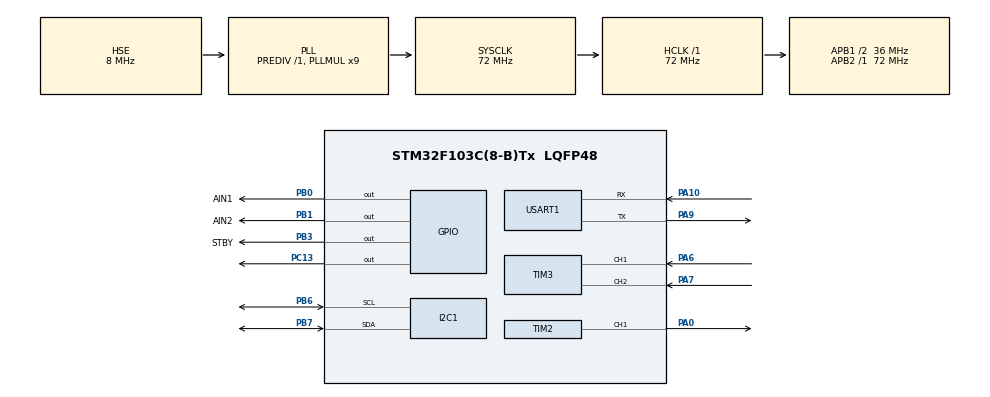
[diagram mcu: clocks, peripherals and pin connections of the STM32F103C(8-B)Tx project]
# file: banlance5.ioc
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Dma.Request0=USART1_TX
Dma.USART1_TX.0.Direction=DMA_MEMORY_TO_PERIPH
Dma.USART1_TX.0.Instance=DMA1_Channel4
Dma.USART1_TX.0.MemDataAlignment=DMA_MDATAALIGN_BYTE
Dma.USART1_TX.0.MemInc=DMA_MINC_ENABLE
Dma.USART1_TX.0.Mode=DMA_NORMAL
Dma.USART1_TX.0.PeriphDataAlignment=DMA_PDATAALIGN_BYTE
Dma.USART1_TX.0.PeriphInc=DMA_PINC_DISABLE
Dma.USART1_TX.0.Priority=DMA_PRIORITY_LOW
Mcu.Family=STM32F1
Mcu.Name=STM32F103C(8-B)Tx
Mcu.Package=LQFP48
NVIC.DMA1_Channel4_IRQn=true\:0\:0\:false\:false\:true\:false\:true\:true
NVIC.PriorityGroup=NVIC_PRIORITYGROUP_4
NVIC.TIM4_IRQn=true\:0\:0\:false\:false\:true\:true\:true\:true
NVIC.USART1_IRQn=true\:0\:0\:false\:false\:true\:false\:true\:true
PA0-WKUP.Signal=S_TIM2_CH1_ETR
PA10.Mode=Asynchronous
PA10.Signal=USART1_RX
PA13.Mode=Serial_Wire
PA13.Signal=SYS_JTMS-SWDIO
PA14.Mode=Serial_Wire
PA14.Signal=SYS_JTCK-SWCLK
PA6.Signal=S_TIM3_CH1
PA7.Signal=S_TIM3_CH2
PA9.Mode=Asynchronous
PA9.Signal=USART1_TX
PB0.GPIO_Label=AIN1
PB0.GPIO_Speed=GPIO_SPEED_FREQ_HIGH
PB0.Signal=GPIO_Output
PB1.GPIO_Label=AIN2
PB1.Signal=GPIO_Output
PB3.GPIO_Label=STBY
PB3.Signal=GPIO_Output
PB6.Mode=I2C
PB6.Signal=I2C1_SCL
PB7.Mode=I2C
PB7.Signal=I2C1_SDA
PC13-TAMPER-RTC.Signal=GPIO_Output
PD0-OSC_IN.Mode=HSE-External-Oscillator
PD0-OSC_IN.Signal=RCC_OSC_IN
PD1-OSC_OUT.Mode=HSE-External-Oscillator
PD1-OSC_OUT.Signal=RCC_OSC_OUT
ProjectManager.HeapSize=0x200
ProjectManager.StackSize=0x400
ProjectManager.TargetToolchain=CMake
RCC.AHBFreq_Value=72000000
RCC.APB1CLKDivider=RCC_HCLK_DIV2
RCC.APB1Freq_Value=36000000
RCC.APB1TimFreq_Value=72000000
RCC.APB2Freq_Value=72000000
RCC.APB2TimFreq_Value=72000000
RCC.HCLKFreq_Value=72000000
RCC.PLLMUL=RCC_PLL_MUL9
RCC.PLLSourceVirtual=RCC_PLLSOURCE_HSE
RCC.SYSCLKFreq_VALUE=72000000
RCC.SYSCLKSource=RCC_SYSCLKSOURCE_PLLCLK
RCC.USBFreq_Value=72000000
SH.S_TIM2_CH1_ETR.0=TIM2_CH1,PWM Generation1 CH1
SH.S_TIM3_CH1.0=TIM3_CH1,Encoder_Interface
SH.S_TIM3_CH2.0=TIM3_CH2,Encoder_Interface
TIM2.Channel-PWM\ Generation1\ CH1=TIM_CHANNEL_1
TIM2.Period=999
TIM2.Prescaler=71
TIM2.Pulse-PWM\ Generation1\ CH1=0
TIM3.EncoderMode=TIM_ENCODERMODE_TI12
TIM4.Period=99
TIM4.Prescaler=7199
USART1.VirtualMode=VM_ASYNC
VP_TIM2_VS_ClockSourceINT.Mode=Internal
VP_TIM4_VS_ClockSourceINT.Mode=Internal
board=custom

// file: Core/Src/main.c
/* USER CODE BEGIN Header */
/**
  ******************************************************************************
  * @file           : main.c
  * @brief          : Main program body
  ******************************************************************************
  * @attention
  *
  * Copyright (c) 2026 STMicroelectronics.
  * All rights reserved.
  *
  * This software is licensed under terms that can be found in the LICENSE file
  * in the root directory of this software component.
  * If no LICENSE file comes with this software, it is provided AS-IS.
  *
  ******************************************************************************
  */
/* USER CODE END Header */
#include "main.h"
#include "dma.h"
#include "i2c.h"
#include "tim.h"
#include "usart.h"
#include "gpio.h"

/* USER CODE BEGIN Includes */
#include "stdio.h"
#include "string.h"
#include "stdlib.h"
#include "math.h"
#include "ins.h"
#include "cmsis_gcc.h"
#include "mpu6050.h"
/* USER CODE END Includes */

/* USER CODE BEGIN PV */
/*
 * VOFA 命令接收缓冲区。
 * 串口中断每次只接收 1 个字节，rx_idx 指向下一个待写入的位置；收到 '\n'
 * 后把整行当成一条命令解析，例如 "I10:60\n"。
 */
uint8_t rx_buf[16] = {0};
uint8_t rx_idx = 0;

/* 旧版 4 字节接收方案保留的变量，目前控制流程没有使用。 */
uint8_t uart_rx_buf[4];

/* USER CODE END PV */

void SystemClock_Config(void);

/* USER CODE BEGIN 0 */
#define MAX_SPEED 999

/** 控制器当前工作模式。两种模式最终都通过同一个速度 PID 驱动电机。 */
typedef enum
{
  CONTROL_MODE_SPEED = 0, /**< 速度模式：VOFA 的 I10 直接指定目标 RPM。 */
  CONTROL_MODE_ANGLE = 1  /**< 角度模式：VOFA 的 I9 指定目标角度。 */
} control_mode_t;

/* -------------------- 控制模式与角度外环状态 -------------------- */
volatile control_mode_t control_mode = CONTROL_MODE_SPEED;
volatile float target_angle = 0.0f;       /**< 用户设定的目标角度，单位：度。 */
volatile float control_angle = 0.0f;      /**< MPU6050 当前俯仰角 pitch，单位：度。 */
volatile float control_angle_rate = 0.0f; /**< Y 轴角速度，单位：度/秒。 */
volatile float angle_target_rpm = 0.0f;   /**< 角度外环计算出的目标转速。 */
volatile float speed_setpoint = 0.0f;     /**< 送入速度内环的最终目标转速。 */
volatile uint8_t control_reset_requested = 1; /**< 切换模式/目标后请求清空 PID 历史状态。 */

#define ANGLE_KP 4.0f             /**< 角度环比例系数：决定对角度误差的响应强度。 */
#define ANGLE_KI 0.4f             /**< 角度环积分系数：消除长期静差。 */
#define ANGLE_KD 0.3f             /**< 角度环微分系数：利用角速度抑制超调。 */
#define ANGLE_LOOP_DT 0.020f       /**< 角度环周期 20 ms，即 50 Hz。 */
#define ANGLE_INTEGRAL_LIMIT 40.0f /**< 角度积分限幅，防止积分饱和。 */
#define ANGLE_SPEED_LIMIT 150.0f   /**< 角度环允许给出的最大目标转速，单位 RPM。 */
#define ANGLE_TARGET_LIMIT 45.0f   /**< VOFA 可设置的目标角度范围为 +/-45 度。 */
#define ANGLE_SAFETY_LIMIT 75.0f   /**< 实际角度超过该值时立即停止电机。 */
#define ANGLE_CONTROL_DIRECTION 1.0f // 若角度误差越来越大，改为-1.0f

float angle_err = 0.0f;
float angle_err_sum = 0.0f;

/* -------------------- 编码器测速参数与状态 -------------------- */
volatile int16_t pulse_delta; /**< 最近 10 ms 内 TIM3 的有符号增量计数。 */
volatile float speed_rpm_raw = 0.0f;
volatile float speed_rpm = 0.0f;
#define MOTOR_PPR 11.0f      // 电机轴单通道每圈脉冲数；当前值必须按实际编码器修改
#define REDUCE_RATIO 30.0f   // 减速箱减速比；本项目所用 1:48/1:90 电机不可继续使用 30
#define ENCODER_MULTIPLIER 4.0f // TIM3使用TI12模式，对AB相进行4倍频计数
#define ENCODER_DIRECTION 1.0f  // 若正转时测速为负，改为-1.0f
#define SPEED_LOOP_DT 0.010f    // TIM4控制周期：10 ms
#define SPEED_FILTER_ALPHA 0.30f

/* -------------------- 速度 PID 参数与状态 -------------------- */
volatile float target_rpm = 0.0f;
#define SPEED_TARGET_LIMIT 200.0f
float sp_kp = 1.8f;
float sp_ki = 0.25f;
float sp_kd = 0.03f;
float sp_err = 0;
float sp_err_last = 0;
float sp_err_sum = 0;
volatile float speed_pid_out = 0;
#define PWM_LIMIT 999.0f
#define INTEGRAL_LIMIT 2000.0f

/**
 * @brief 计算角度外环 PID，并把角度误差换算为速度内环的目标转速。
 *
 * 该函数不直接驱动电机。它只完成“角度 -> 目标转速”的转换，返回值随后交给
 * 速度 PID。这样形成串级控制：角度外环决定电机应该转多快，速度内环再决定
 * TB6612 应输出多大的 PWM。
 *
 * @param angle 当前姿态角，单位为度；本工程传入 MPU6050 解算得到的 pitch。
 * @param angle_rate 当前角速度，单位为度/秒；直接用作微分反馈，避免对误差再次差分。
 * @return 速度内环目标值，单位为 RPM，并限制在 +/-ANGLE_SPEED_LIMIT 范围内。
 *
 * @note 由 50 Hz 角度环调用，因此积分项使用 ANGLE_LOOP_DT=0.020 s。
 */
float angle_pid_update(float angle, float angle_rate)
{
  angle_err = target_angle - angle;
  angle_err_sum += angle_err * ANGLE_LOOP_DT;

  if(angle_err_sum > ANGLE_INTEGRAL_LIMIT) angle_err_sum = ANGLE_INTEGRAL_LIMIT;
  if(angle_err_sum < -ANGLE_INTEGRAL_LIMIT) angle_err_sum = -ANGLE_INTEGRAL_LIMIT;

  float output = ANGLE_CONTROL_DIRECTION *
                 (ANGLE_KP * angle_err + ANGLE_KI * angle_err_sum - ANGLE_KD * angle_rate);

  if(output > ANGLE_SPEED_LIMIT) output = ANGLE_SPEED_LIMIT;
  if(output < -ANGLE_SPEED_LIMIT) output = -ANGLE_SPEED_LIMIT;
  return output;
}

/**
 * @brief 根据有符号控制量设置 TB6612 的方向引脚和 PWM 占空比。
 *
 * speed 的正负决定方向，绝对值决定 TIM2_CH1 的比较值：
 * - speed > 0：AIN1=1、AIN2=0，电机正转；
 * - speed < 0：AIN1=0、AIN2=1，电机反转；
 * - speed = 0：AIN1=0、AIN2=0、PWM=0，电机停止。
 *
 * @param speed 有符号 PWM 控制量，允许范围为 -999～999。
 *              超出范围时会先限幅，避免写入非法的定时器比较值。
 * @note 本函数只控制 A 通道；TB6612 的 STBY 已在 main() 启动阶段拉高。
 */
void motor_set(int16_t speed)
{
  //限幅，防止PWM溢出
  if(speed > MAX_SPEED)
  {
    speed = MAX_SPEED;
  }
  if(speed < -MAX_SPEED)
  {
    speed = -MAX_SPEED;
  }
  if(speed > 0)
  {
    //电机正向
    HAL_GPIO_WritePin(AIN1_GPIO_Port, AIN1_Pin, GPIO_PIN_SET);
    HAL_GPIO_WritePin(AIN2_GPIO_Port, AIN2_Pin, GPIO_PIN_RESET);
    __HAL_TIM_SET_COMPARE(&htim2, TIM_CHANNEL_1, speed);
  }
  else if(speed < 0)
  {
    //电机反向
    HAL_GPIO_WritePin(AIN1_GPIO_Port, AIN1_Pin, GPIO_PIN_RESET);
    HAL_GPIO_WritePin(AIN2_GPIO_Port, AIN2_Pin, GPIO_PIN_SET);
    __HAL_TIM_SET_COMPARE(&htim2, TIM_CHANNEL_1, -speed);
  }
  else
  {
    //停止
    HAL_GPIO_WritePin(AIN1_GPIO_Port, AIN1_Pin, GPIO_PIN_RESET);
    HAL_GPIO_WritePin(AIN2_GPIO_Port, AIN2_Pin, GPIO_PIN_RESET);
    __HAL_TIM_SET_COMPARE(&htim2, TIM_CHANNEL_1, 0);
  }
}

/* USER CODE END 0 */

/**
  * @brief 程序入口：初始化硬件、启动控制中断，并在主循环完成姿态更新和VOFA上传。
  *
  * 执行顺序：
  * 1. HAL_Init() 初始化 HAL、SysTick 和中断优先级基础环境；
  * 2. SystemClock_Config() 把系统主频配置为 72 MHz；
  * 3. 初始化 GPIO、DMA、定时器、串口、I2C；
  * 4. 启动 PWM、编码器计数、10 ms 定时中断和串口单字节接收；
  * 5. 初始化 MPU6050 并校准陀螺仪；
  * 6. 进入无限循环，持续更新姿态并以 50 Hz 向 VOFA 发送监控数据。
  *
  * 电机 PID 不在 while(1) 中运行，而是在 TIM4 的周期中断回调中运行，
  * 因此主循环偶尔变慢不会直接改变 PID 的固定采样周期。
  *
  * @retval int 嵌入式程序不会正常退出，理论上不会执行到返回位置。
  */
int main(void)
{

  /* MCU Configuration--------------------------------------------------------*/

  /* Reset of all peripherals, Initializes the Flash interface and the Systick. */
  HAL_Init();

  /* USER CODE BEGIN Init */
  //启动编码器
  //HAL_TIM_Encoder_Start(&htim3, TIM_CHANNEL_1);
  //HAL_TIM_Encoder_Start(&htim3, TIM_CHANNEL_2);
  //启动1ms定时中断跑PID
  //HAL_TIM_Base_Start_IT(&htim4);
  //开启串口中断接收VOFA浮点数
  //HAL_UART_Receive_IT(&huart1, uart_rx_buf,4);

  /* USER CODE END Init */

  /* Configure the system clock */
  SystemClock_Config();

  /* Initialize all configured peripherals */
  MX_GPIO_Init();
  MX_DMA_Init();
  MX_TIM2_Init();
  MX_TIM4_Init();
  MX_USART1_UART_Init();
  MX_I2C1_Init();
  MX_TIM3_Init();
  /* USER CODE BEGIN 2 */
  /* 上电先把PWM设为0，再使能TB6612，防止初始化过程中电机意外动作。 */
  __HAL_TIM_SET_COMPARE(&htim2, TIM_CHANNEL_1, 0);
  HAL_GPIO_WritePin(STBY_GPIO_Port, STBY_Pin, GPIO_PIN_SET);
  HAL_TIM_PWM_Start(&htim2, TIM_CHANNEL_1);          // TIM2_CH1：输出电机PWM
  HAL_TIM_Encoder_Start(&htim3, TIM_CHANNEL_ALL);   // TIM3_CH1/CH2：AB相正交解码
  HAL_TIM_Base_Start_IT(&htim4);                    // TIM4：每10ms触发一次速度环
  HAL_UART_Receive_IT(&huart1, &rx_buf[rx_idx], 1); // USART1：逐字节接收VOFA命令

  ins_init(); // 初始化MPU6050并进行静止零偏校准，此阶段不要移动传感器
  /* USER CODE END 2 */

  /* Infinite loop */
  /* USER CODE BEGIN WHILE */
  // 发送缓冲区
  char buff[256];
  uint32_t vofa_last_tick = 0;
  // 获取陀螺仪数据的指针
  ins_data_t *ins = ins_data();
  while (1)
  {// 更新 MPU6050 数据（陀螺仪 + 加速度计 + 姿态解算）
    ins_update();

    // I2C读取留在主循环；控制中断只使用最近一次姿态结果
    control_angle = ins->pitch;
    control_angle_rate = ins->gyro[1];

    /*
     * 速度模式：I10直接给定speed_setpoint。
     * 角度模式：I9经角度PID生成speed_setpoint。
     * 两种模式最终都只允许速度PID写PWM。
     */

    /*
     * VOFA使用FireWater：50 Hz发送，避免阻塞串口过度占用CPU。
     * 逗号分隔字段会按顺序显示为：
     * I0~I2   = X/Y/Z角速度；        I3~I5   = X/Y/Z角加速度；
     * I6~I8   = roll/pitch/yaw；      I9      = 目标角度；
     * I10     = 速度模式目标RPM；     I11     = 编码器实际RPM；
     * I12     = 速度PID输出PWM；      I13     = 最近10ms编码器增量；
     * I14     = 控制模式(0速度/1角度)；I15     = 速度内环最终目标；
     * I16     = 角度外环给出的目标RPM。
     */
    if ((HAL_GetTick() - vofa_last_tick) >= 20U)
    {
      vofa_last_tick = HAL_GetTick();
      sprintf(buff, "%.3f,%.3f,%.3f,%.2f,%.2f,%.2f,%.3f,%.3f,%.3f,%.3f,%.3f,%.3f,%.3f,%d,%.0f,%.3f,%.3f\n",
              ins->gyro[0], ins->gyro[1], ins->gyro[2],
              ins->gyro_accel[0], ins->gyro_accel[1], ins->gyro_accel[2],
              ins->roll, ins->pitch, ins->yaw, target_angle,
              target_rpm, speed_rpm, speed_pid_out, (int)pulse_delta,
              (float)control_mode, speed_setpoint, angle_target_rpm);
      HAL_UART_Transmit(&huart1, (uint8_t *)buff, strlen(buff), 100);
    }

    HAL_Delay(1);
    /* USER CODE END WHILE */

  }
}

/**
  * @brief 配置 STM32F103 系统时钟为 72 MHz。
  *
  * 时钟路径为：外部高速晶振 HSE 8 MHz -> PLL 倍频 9 -> SYSCLK 72 MHz。
  * AHB 保持 72 MHz，APB1 分频为 36 MHz，APB2 保持 72 MHz。由于 APB1
  * 分频不为 1，挂在 APB1 上的 TIM2/TIM3/TIM4 定时器时钟会自动倍频到
  * 72 MHz。USART1 位于 APB2，I2C1 位于 APB1。
  *
  * @retval None
  */
void SystemClock_Config(void)
{
  RCC_OscInitTypeDef RCC_OscInitStruct = {0};
  RCC_ClkInitTypeDef RCC_ClkInitStruct = {0};

  /** Initializes the RCC Oscillators according to the specified parameters
  * in the RCC_OscInitTypeDef structure.
  */
  RCC_OscInitStruct.OscillatorType = RCC_OSCILLATORTYPE_HSE;
  RCC_OscInitStruct.HSEState = RCC_HSE_ON;
  RCC_OscInitStruct.HSEPredivValue = RCC_HSE_PREDIV_DIV1;
  RCC_OscInitStruct.HSIState = RCC_HSI_ON;
  RCC_OscInitStruct.PLL.PLLState = RCC_PLL_ON;
  RCC_OscInitStruct.PLL.PLLSource = RCC_PLLSOURCE_HSE;
  RCC_OscInitStruct.PLL.PLLMUL = RCC_PLL_MUL9;
  if (HAL_RCC_OscConfig(&RCC_OscInitStruct) != HAL_OK)
  {
    Error_Handler();
  }

  /** Initializes the CPU, AHB and APB buses clocks
  */
  RCC_ClkInitStruct.ClockType = RCC_CLOCKTYPE_HCLK|RCC_CLOCKTYPE_SYSCLK
                              |RCC_CLOCKTYPE_PCLK1|RCC_CLOCKTYPE_PCLK2;
  RCC_ClkInitStruct.SYSCLKSource = RCC_SYSCLKSOURCE_PLLCLK;
  RCC_ClkInitStruct.AHBCLKDivider = RCC_SYSCLK_DIV1;
  RCC_ClkInitStruct.APB1CLKDivider = RCC_HCLK_DIV2;
  RCC_ClkInitStruct.APB2CLKDivider = RCC_HCLK_DIV1;

  if (HAL_RCC_ClockConfig(&RCC_ClkInitStruct, FLASH_LATENCY_2) != HAL_OK)
  {
    Error_Handler();
  }
}

/* USER CODE BEGIN 4 */
/**
 * @brief 把标准库 printf 的单字符输出重定向到 USART1。
 * @param ch 待发送的字符。
 * @param f 标准库传入的文件流指针，本实现不使用该参数。
 * @return 成功发送后原样返回 ch，符合 fputc 的接口约定。
 * @note 该实现为阻塞发送，适合调试信息，不适合在高频中断中调用。
 */
int fputc(int ch,FILE *f)
{
  HAL_UART_Transmit(&huart1,(uint8_t *)&ch,1,10);
  return ch;
}

/**
 * @brief 解析冒号后面的浮点数，例如把 "I10:-35.5" 解析为 -35.5。
 * @param str 以 '\0' 结尾的命令字符串。
 * @param out_val 输出参数，解析成功时写入浮点值；失败时通常写入 0。
 * @return 0 表示成功，-1 表示参数为空、没有冒号或冒号后没有有效数字。
 * @note 本函数只负责取数，不判断 I9/I10 命令类型；命令类型由串口回调判断。
 */
int str_prefix_to_float_strict(const char *str, float *out_val)
{
  if (str == NULL || out_val == NULL)
    return -1;

  char *p_colon = strchr(str, ':');
  if (p_colon == NULL)
  {
    *out_val = 0;
    return -1;
  }
  const char *num_start = p_colon + 1;
  char *endptr;

  double tmp = strtod(num_start, &endptr);

  // endptr == num_start 代表没有解析到数字
  if (endptr == num_start)
  {
    *out_val = 0;
    return -1;
  }
  *out_val = (float)tmp;
  return 0;
}

/**
 * @brief HAL 串口接收完成回调，负责拼接并处理 VOFA 下发的一行命令。
 *
 * USART1 每收到一个字节都会进入一次本函数：普通字符写入 rx_buf；回车 '\r'
 * 被忽略；换行 '\n' 表示一条命令结束。当前支持：
 * - I9:<角度>  ：切换为角度模式，范围限制为 +/-45 度；
 * - I10:<转速>：切换为速度模式，范围限制为 +/-200 RPM。
 *
 * 新目标到来后只设置 control_reset_requested，真正的 PID 状态清零在 TIM4
 * 中断中完成，避免主循环和中断同时修改同一组控制状态。
 *
 * @param huart 触发回调的串口句柄；本函数只处理 USART1。
 */
void HAL_UART_RxCpltCallback(UART_HandleTypeDef *huart)
{
  HAL_GPIO_TogglePin(GPIOC, GPIO_PIN_13);
  if(huart->Instance == USART1)
  {
    uint8_t received_char = rx_buf[rx_idx];

    if(received_char == '\n')
    {
      float received_value;

      /* 用字符串结束符覆盖换行符 */
      rx_buf[rx_idx] = '\0';

      if(str_prefix_to_float_strict(
            (const char *)rx_buf,
            &received_value) == 0)
      {
        /*
         * 判断命令前缀：
         * i9  修改目标角度
         * i10 修改目标转速
         */
        if(strstr((const char *)rx_buf, "I9:") != NULL)
        {
          if(received_value > ANGLE_TARGET_LIMIT) received_value = ANGLE_TARGET_LIMIT;
          if(received_value < -ANGLE_TARGET_LIMIT) received_value = -ANGLE_TARGET_LIMIT;
          target_angle = received_value;
          control_mode = CONTROL_MODE_ANGLE;
          control_reset_requested = 1;
        }
        else if(strstr((const char *)rx_buf, "I10:") != NULL)
        {
          if(received_value > SPEED_TARGET_LIMIT) received_value = SPEED_TARGET_LIMIT;
          if(received_value < -SPEED_TARGET_LIMIT) received_value = -SPEED_TARGET_LIMIT;
          target_rpm = received_value;
          control_mode = CONTROL_MODE_SPEED;
          control_reset_requested = 1;
        }
      }

      /* 清空缓冲区，准备接收下一条命令 */
      memset(rx_buf, 0, sizeof(rx_buf));
      rx_idx = 0;
    }
    else if(received_char == '\r')
    {
      /*
       * 忽略回车。
       * rx_idx 不增加，下一字节会覆盖当前位置。
       */
    }
    else
    {
      rx_idx++;

      /* 防止缓冲区越界 */
      if(rx_idx >= sizeof(rx_buf) - 1)
      {
        memset(rx_buf, 0, sizeof(rx_buf));
        rx_idx = 0;
      }
    }

    /* 始终一次只接收一个字节 */
    HAL_UART_Receive_IT(&huart1, &rx_buf[rx_idx], 1);
  }
}

/**
 * @brief TIM4 的 10 ms 周期回调，是整个电机闭环控制的实时核心。
 *
 * 每次进入后的处理顺序：
 * 1. 读取 TIM3 编码器增量并清零计数器；
 * 2. 把 10 ms 脉冲数换算成输出轴 RPM，并进行一阶低通滤波；
 * 3. 若刚切换模式/目标，清空两个 PID 的历史状态并安全停车一次；
 * 4. 角度模式每 20 ms 计算一次角度外环，得到目标 RPM；速度模式直接采用 I10；
 * 5. 计算速度 PID，执行积分限幅和抗积分饱和；
 * 6. 将 PID 输出限幅后交给 motor_set() 更新方向和 PWM。
 *
 * @param htim 触发回调的定时器句柄；只有 TIM4 会执行控制代码。
 * @note 中断中不能加入 printf、HAL_Delay 或耗时 I2C 读取，否则会破坏固定控制周期。
 */
void HAL_TIM_PeriodElapsedCallback(TIM_HandleTypeDef *htim)
{
  static uint8_t angle_loop_divider = 0;

  if(htim->Instance == TIM4)
  {
    //读取脉冲，立刻清零计数器
    pulse_delta = (int16_t) __HAL_TIM_GET_COUNTER(&htim3);
    __HAL_TIM_SET_COUNTER(&htim3,0);

    // 根据10 ms采样窗口和AB相4倍频计数计算转速，并低通滤波
    speed_rpm_raw = ENCODER_DIRECTION * (float)pulse_delta * 60.0f /
                    (MOTOR_PPR * ENCODER_MULTIPLIER * REDUCE_RATIO * SPEED_LOOP_DT);
    speed_rpm += SPEED_FILTER_ALPHA * (speed_rpm_raw - speed_rpm);

    if (control_reset_requested)
    {
      sp_err = 0.0f;
      sp_err_last = 0.0f;
      sp_err_sum = 0.0f;
      angle_err = 0.0f;
      angle_err_sum = 0.0f;
      angle_target_rpm = 0.0f;
      speed_setpoint = 0.0f;
      speed_pid_out = 0.0f;
      angle_loop_divider = 0;
      control_reset_requested = 0;
      motor_set(0);
      return;
    }

    if (control_mode == CONTROL_MODE_ANGLE)
    {
      // 姿态超出安全范围时立即停止，避免机构继续失控
      if (fabsf(control_angle) > ANGLE_SAFETY_LIMIT)
      {
        angle_target_rpm = 0.0f;
        speed_setpoint = 0.0f;
        speed_pid_out = 0.0f;
        sp_err_sum = 0.0f;
        motor_set(0);
        return;
      }

      // 速度内环100 Hz，角度外环每两次运行一次，即50 Hz
      angle_loop_divider++;
      if (angle_loop_divider >= 2U)
      {
        angle_loop_divider = 0;
        angle_target_rpm = angle_pid_update(control_angle, control_angle_rate);
      }
      speed_setpoint = angle_target_rpm;
    }
    else
    {
      angle_loop_divider = 0;
      angle_target_rpm = 0.0f;
      speed_setpoint = target_rpm;
    }

    // 速度模式下0 RPM作为明确停车命令；角度模式下仍保留速度环以抵抗扰动
    if (control_mode == CONTROL_MODE_SPEED && fabsf(speed_setpoint) < 0.01f)
    {
      sp_err_sum = 0.0f;
      sp_err_last = 0.0f;
      speed_pid_out = 0.0f;
      motor_set(0);
      return;
    }

    // ----- PID计算 -----
    sp_err = speed_setpoint - speed_rpm;

    // 先计算候选积分；若输出已沿误差方向饱和，则停止继续积分
    float sp_err_sum_candidate = sp_err_sum + sp_err;
    if(sp_err_sum_candidate > INTEGRAL_LIMIT) sp_err_sum_candidate = INTEGRAL_LIMIT;
    if(sp_err_sum_candidate < -INTEGRAL_LIMIT) sp_err_sum_candidate = -INTEGRAL_LIMIT;

    float sp_p = sp_kp * sp_err;
    float sp_d = sp_kd * (sp_err - sp_err_last);
    float output_candidate = sp_p + sp_ki * sp_err_sum_candidate + sp_d;
    if (!((output_candidate > PWM_LIMIT && sp_err > 0.0f) ||
          (output_candidate < -PWM_LIMIT && sp_err < 0.0f)))
    {
      sp_err_sum = sp_err_sum_candidate;
    }

    speed_pid_out = sp_p + sp_ki * sp_err_sum + sp_d;
    sp_err_last = sp_err;

    //输出限幅
    if(speed_pid_out > PWM_LIMIT) speed_pid_out = PWM_LIMIT;
    if(speed_pid_out < -PWM_LIMIT) speed_pid_out = -PWM_LIMIT;

    motor_set((int16_t)speed_pid_out);
  }
}

/* USER CODE END 4 */

/**
  * @brief 致命错误处理函数。
  *
  * 外设或时钟初始化失败时会进入这里。函数关闭全局中断并永久停留，便于调试器
  * 定位故障；产品化时可在这里增加关闭电机、点亮故障灯或触发看门狗复位。
  *
  * @retval None
  */
void Error_Handler(void)
{
  __disable_irq();
  while (1)
  {
  }
}
